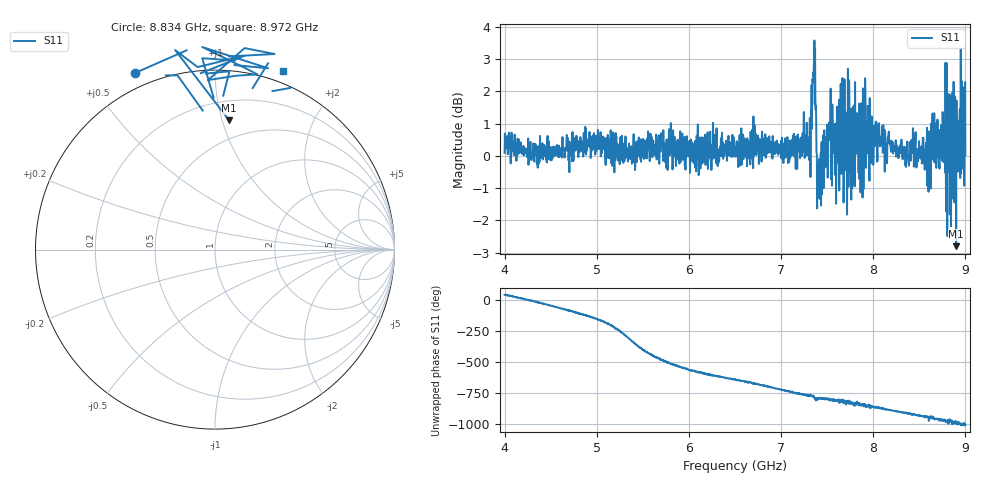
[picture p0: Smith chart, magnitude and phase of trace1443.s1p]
! Created with skrf 1.8.0 (http://scikit-rf.org).
# Hz S RI R 50.0
!freq ReS11 ImS11
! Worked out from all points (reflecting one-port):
!   1601 points, 4 GHz to 9 GHz, reference 50 ohm
!   lowest |S11| = -2.8 dB at 8.9 GHz (marker M1), VSWR 6.26, Z = 17.4 + j52.7 ohm
!   phase of S11 starts at 39 deg and turns -1050 deg over the sweep
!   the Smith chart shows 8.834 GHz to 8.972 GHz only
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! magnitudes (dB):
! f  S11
! 4 GHz  0.1
! 4.625 GHz  0.2
! 4.897 GHz  0.4
! 5.25 GHz  -0.3
! 5.709 GHz  0.4
! 5.875 GHz  0.0
! 6.5 GHz  0.2
! 7.125 GHz  0.5
! 7.294 GHz  0.3
! 7.356 GHz  2.9
! 7.409 GHz  -0.6
! 7.512 GHz  0.8
! 7.609 GHz  0.8
! 7.65 GHz  1.0
! 7.75 GHz  -0.5
! 7.769 GHz  -0.9
! 7.822 GHz  0.1
! 7.875 GHz  -0.2
! 7.928 GHz  1.1
! 7.981 GHz  -0.2
! 8.375 GHz  -0.1
! 8.438 GHz  0.4
! 8.603 GHz  0.4
! 8.656 GHz  0.5
! 8.759 GHz  0.5
! 8.9 GHz  -2.8
! 8.956 GHz  -0.1
! 9 GHz  0.0
